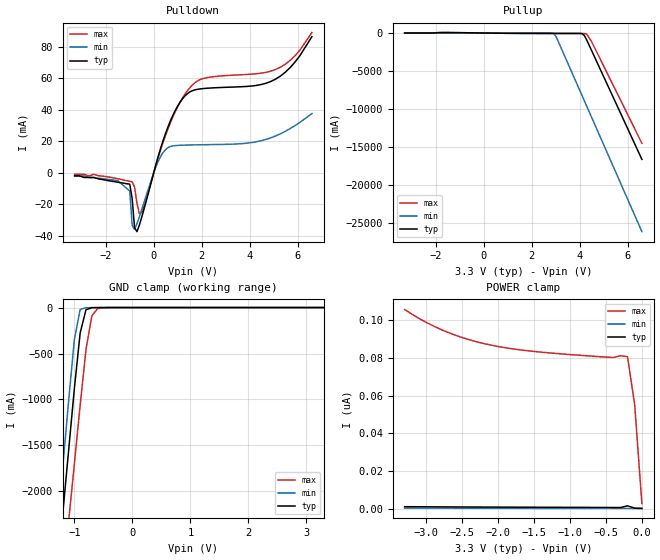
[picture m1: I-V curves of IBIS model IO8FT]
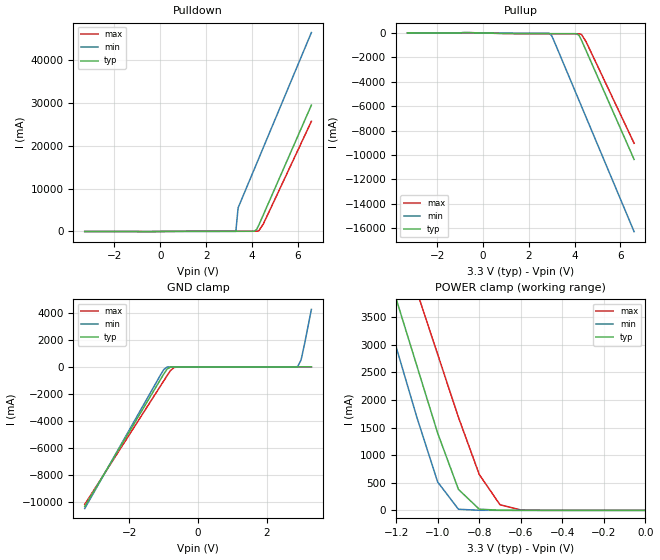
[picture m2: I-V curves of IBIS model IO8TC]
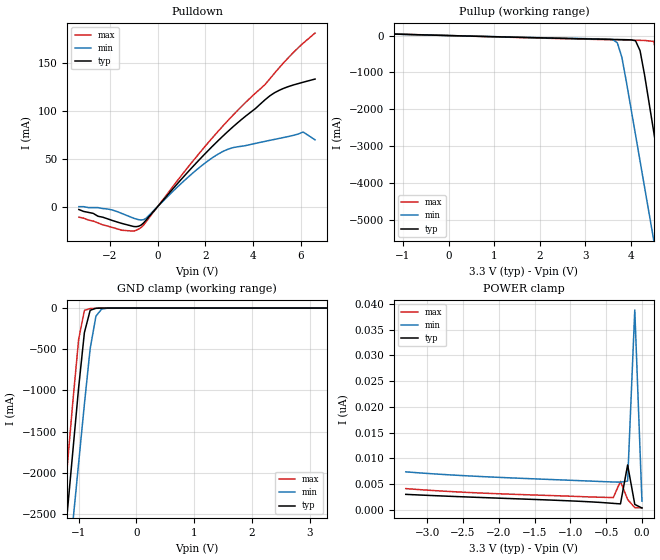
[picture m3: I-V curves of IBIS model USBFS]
| (C) COPYRIGHT 2008 STMicroelectronics
|****************** (C) COPYRIGHT 2024 STMicroelectronics ***************
|* File Name   : f103vbh.ibs   *
|* Author   : STMicroelectronics www.st.com   *
|* Description   : IBIS file for the STM32F103VBH Microcontroller. *
|* THE PRESENT SOFTWARE WHICH IS FOR GUIDANCE ONLY AIMS AT PROVIDING   *
|* CUSTOMERS WITH CODING INFORMATION REGARDING THEIR PRODUCTS IN ORDER  *
|* FOR THEM TO SAVE TIME.   *
|* AS A RESULT, STMICROELECTRONICS SHALL NOT BE HELD LIABLE FOR ANY   *
|* DIRECT,INDIRECT OR CONSEQUENTIAL DAMAGES WITH RESPECT TO ANY CLAIMS  *
|* ARISING FROM THE CONTENT OF SUCH SOFTWARE AND/OR THE USE MADE BY   *
|* CUSTOMERS OF THE CODING INFORMATION CONTAINED HEREIN IN CONNECTION   *
|* WITH THEIR PRODUCTS.   *
|* FOR MORE INFORMATION PLEASE CAREFULLY READ THE LICENSE AGREEMENT   *
|* FILE LOCATED IN THE ROOT DIRECTORY OF THIS SOFTWARE PACKAGE   *
|* IBIS file io8usb.ibs created by s2ibis2 version 1.1   *
|* North Carolina State University Electronics Research Laboratory  1995*
[IBIS ver]   2.1
[File name]   f103vbh.ibs
[File Rev]   1.1
[Date]   12-08-2024
|   Component  STM32F103VBH
[Component]   STM32F103VBH
[Manufacturer]   STMicroelectronics NV
[Package]
| STM32F103VBH with BGA100 package
| pin List
| variable   typ   min   max
R_pkg   0.000   0.000   0.000
L_pkg   0.000H   0.000H   0.000H
C_pkg   0.000F   0.000F   0.000F
[Pin]  signal_name   model_name   R_pin   L_pin   C_pin
A3 PE2 IO8FT
B3 PE3 IO8FT
C3 PE4 IO8FT
D3 PE5 IO8FT
E3 PE6 IO8FT
|B2 VBAT   VDD3IOSWCO_MOSSWI_TC
A2 PC13-ANTI_TAMP IO8TC
A1 PC14-OSC32_IN   IO8TC
|B1 PC15-OSC32_OUT IO8TC
|C2 VSS_5
|D2 VDD_5
C1 OSC_IN IO8TC
D1 OSC_OUT IO8TC
|E1 NRST IORESET_TC_V33
F1 PC0   IO8TC
F2 PC1   IO8TC
E2 PC2   IO8TC
F3 PC3   IO8TC
|G1 VSSA
|H1 VREF-
|J1 VREF+
|K1 VDDA
G2 PA0-WKUP IO8TC
H2 PA1   IO8TC
J2 PA2   IO8TC
K2 PA3   IO8TC
|E4 VSS_4
|F4 VDD_4
G3 PA4   IO8TC
H3 PA5   IO8TC
J3 PA6   IO8TC
K3 PA7   IO8TC
G4 PC4   IO8TC
H4 PC5   IO8TC
J4 PB0   IO8TC
K4 PB1   IO8TC
G5 PB2   IO8FT
H5 PE7   IO8FT
J5 PE8   IO8FT
K5 PE9   IO8FT
G6 PE10   IO8FT
H6 PE11   IO8FT
J6 PE12   IO8FT
K6 PE13   IO8FT
G7 PE14   IO8FT
H7 PE15   IO8FT
J7 PB10   IO8I2CINFT
K7 PB11   IO8I2CINFT
|E7 VSS_1
|F7 VDD_1
K8 PB12   IO8FT
J8 PB13   IO8FT
H8 PB14   IO8FT
G8 PB15   IO8FT
K9 PD8   IO8FT
J9 PD9   IO8FT
H9 PD10   IO8FT
G9 PD11   IO8FT
K10 PD12 IO8FT
J10 PD13 IO8FT
H10 PD14 IO8FT
G10 PD15 IO8FT
F10 PC6   IO8FT
E10 PC7   IO8FT
F9 PC8   IO8FT
E9 PC9   IO8FT
D9 PA8   IO8FT
C9 PA9   IO8FT
D10 PA10 IO8FT
C10 PA11 USBFS
|DM
B10 PA12 USBFS
|DP
A10 PA13   IO8FT
|F8 NC   IO8TC_V33
|E6 VSS_2
|F6 VDD_2
A9 PA14   IO8FT
A8 PA15   IO8FT
B9 PC10   IO8FT
B8 PC11   IO8FT
C8 PC12   IO8FT
D8 PD0   IO8FT
E8 PD1   IO8FT
B7 PD2   IO8FT
C7 PD3   IO8FT
D7 PD4   IO8FT
B6 PD5   IO8FT
C6 PD6   IO8FT
D6 PD7   IO8FT
A7 PB3   IO8FT
A6 PB4   IO8FT
C5 PB5   IO8TC
B5 PB6   IO8I2CINFT
A5 PB7   IO8I2CINFT
|D5 BOOT0
B4 PB8   IO8I2CINFT
A4 PB9   IO8I2CINFT
D4 PE0   IO8FT
C4 PE1   IO8FT
|E5 VSS_3
|F5 VDD_3
[Diff Pin] inv_pin vdiff tdelay_typ tdelay_min tdelay_max
C10 B10 0 na na na
| Models and submodels in the file (4): IO8FT (I/O), IO8TC (I/O), IO8I2CINFT (I/O), USBFS (I/O)
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|   Model IO8FT
[Model]   IO8FT
Model_type   I/O
Polarity   Non-Inverting
Enable   Active-Low
Vinl = 0.8
Vinh = 2.0
Vmeas = 1.65V   | Reference voltage for timing measurements
Cref  = 50.0pF   | Timing specification test load capacitance value
Rref  = 100.0MOhm   | Timing specification test load resistance value
Vref  = 1.65V   | Timing specification test load voltage
C_comp   1.12p 0.79p 1.15p
[Temperature Range]   27.0000   -40.0000   0.1250k
[Voltage Range]   3.3000V   2.0000V   3.6000V
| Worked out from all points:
|   slope of the pulldown table from 0 to 0.495 V, typ, clamps not added: 19.7 ohm
|   slope of the pullup table from 0 to 0.495 V, typ, clamps not added: 24.1 ohm
|   GND clamp passes 1 mA (typ) near -0.66 V on its own axis
[Pulldown]
| voltage   I(typ)   I(min)   I(max)
-3.3V     -2mA       -2mA       -1mA
-1V       -7.28mA    -11.64mA   -5.4mA
-900mV    -16.29mA   -33.35mA   -5.7mA
-800mV    -34.88mA   -35.98mA   -9.07mA
-700mV    -37.43mA   -32.42mA   -19.3mA
-500mV    -28.21mA   -23.35mA   -25.24mA
300mV     16.16mA    10.71mA    15.16mA
1.3V      48.78mA    17.59mA    49.88mA
2.1V      53.58mA    17.84mA    60.07mA
4.9V      58.14mA    22.28mA    64.68mA
5.7V      67mA       28.15mA    71.53mA
6.6V      86.53mA    37.57mA    89.15mA
[Pullup]
| voltage   I(typ)   I(min)   I(max)
-3.3V     980.1uA    253.1uA    1.488mA
2.9V      -50.07mA   -36.28mA   -60.46mA
3V        -50.19mA   -363.2mA   -60.68mA
3.1V      -50.31mA   -1.038A    -60.88mA
4.1V      -74.62mA   -8.2A      -63.33mA
4.2V      -326.9mA   -8.916A    -72.71mA
4.3V      -930.3mA   -9.632A    -154.9mA
4.5V      -2.293A    -11.06A    -1.125A
6.6V      -16.61A    -26.11A    -14.49A
[GND_clamp]
| voltage   I(typ)   I(min)   I(max)
-3.3V     -16.55A    -16.78A    -16.33A
-1.3V     -2.923A    -2.454A    -3.607A
-1.2V     -2.242A    -1.738A    -2.97A
-1.1V     -1.56A     -1.022A    -2.334A
-1V       -879mA     -347.6mA   -1.698A
-900mV    -275.7mA   -20.68mA   -1.062A
-800mV    -23.44mA   -1.226mA   -457.7mA
-700mV    -1.616mA   -169.8uA   -92.4mA
-600mV    -143.8uA   -12.27uA   -10.31mA
-400mV    -734.2nA   -13.33nA   -77.92uA
3.3V      120.7pA    150pA      -437.6pA
[POWER_clamp]
| voltage   I(typ)   I(min)   I(max)
-3.3V     1.029nA    288.6pA    105.7nA
-3V       963.9pA    266.5pA    98.85nA
-2.7V     907.5pA    245.1pA    93.54nA
-2.4V     858.5pA    224.3pA    89.6nA
-2.1V     815.6pA    203.8pA    86.77nA
-1.7V     764.8pA    176.8pA    84.28nA
-1.3V     717.4pA    150pA      82.67nA
-400mV    593pA      96.3pA     80.2nA
-300mV    575.4pA    90.12pA    81.13nA
-200mV    1.482nA    88.83pA    80.61nA
-100mV    269.6pA    67.49pA    55.08nA
0V        120.7pA    61.65pA    2.62nA
[Ramp]
| variable   typ   min   max
dV/dt_r   597.107m/1.926n   1.171/792.551p   1.993/430.881p
dV/dt_f   2.083/427.561p   1.367/1.031n   2.548/480.447p
R_load = 1.0000k
| End [Model] IO8FT
|   Model IO8TC
[Model]   IO8TC
Model_type   I/O
Polarity   Non-Inverting
Enable   Active-Low
Vinl = 0.8
Vinh = 2.0
Vmeas = 1.65V   | Reference voltage for timing measurements
Cref  = 50.0pF   | Timing specification test load capacitance value
Rref  = 100.0MOhm   | Timing specification test load resistance value
Vref  = 1.65V   | Timing specification test load voltage
C_comp   1.12p 0.79p 1.15p
[Temperature Range]   27.0000   -40.0000   0.1250k
[Voltage Range]   3.3000V   2.0000V   3.6000V
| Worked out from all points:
|   slope of the pulldown table from 0 to 0.495 V, typ, clamps not added: 20 ohm
|   slope of the pullup table from 0 to 0.495 V, typ, clamps not added: 22.7 ohm
|   GND clamp passes 1 mA (typ) near -0.70 V on its own axis
|   POWER clamp passes 1 mA (typ) near -0.65 V on its own axis
[Pulldown]
| voltage   I(typ)   I(min)   I(max)
-3.3V     -11mA      -7mA       -12mA
3.3V      46.11mA    17.5mA     51.65mA
3.4V      46.19mA    5.54A      51.73mA
4.1V      69.07mA    14.49A     53.41mA
4.2V      427.6mA    15.77A     60.5mA
4.3V      1.448A     17.05A     155mA
4.5V      3.886A     19.61A     1.741A
6.6V      29.54A     46.5A      25.74A
[Pullup]
| voltage   I(typ)   I(min)   I(max)
-3.3V     13mA       7mA        15mA
-800mV    38.06mA    30.07mA    17.02mA
2.9V      -53.19mA   -26.35mA   -64.22mA
3V        -53.33mA   -220.4mA   -64.45mA
3.1V      -53.45mA   -639.3mA   -64.67mA
4.1V      -64.77mA   -5.109A    -66.42mA
4.2V      -211.5mA   -5.556A    -69.8mA
4.3V      -583.6mA   -6.003A    -113mA
4.5V      -1.434A    -6.897A    -704.2mA
6.6V      -10.37A    -16.29A    -9.04A
[GND_clamp]
| voltage   I(typ)   I(min)   I(max)
-3.3V     -10.3A     -10.46A    -10.16A
-1.1V     -954.1mA   -622.7mA   -1.431A
-1V       -529.1mA   -203.8mA   -1.034A
-900mV    -157mA     -9.777mA   -637.6mA
-800mV    -10.42mA   -629.8uA   -264.1mA
-700mV    -609.4uA   -91.71uA   -46.66mA
-600mV    -69.31uA   -6.5uA     -3.537mA
2.9V      20.24pA    20.04mA    -1.76nA
3V        24.7pA     513.9mA    -1.696nA
3.1V      29.15pA    1.685A     -1.628nA
3.3V      40.44pA    4.243A     -1.476nA
[POWER_clamp]
| voltage   I(typ)   I(min)   I(max)
-3.3V     29.43A     29.82A     29.07A
-1.3V     5.056A     4.243A     6.25A
-1.2V     3.837A     2.964A     5.109A
-1.1V     2.618A     1.685A     3.969A
-1V       1.4A       513.9mA    2.828A
-900mV    379.9mA    20.04mA    1.687A
-800mV    21.69mA    1.633mA    652.2mA
-700mV    1.637mA    588.9uA    101.7mA
-600mV    417.2uA    104.9uA    7.544mA
0V        40.44pA    24pA       1.332nA
[Ramp]
| variable   typ   min   max
dV/dt_r   1.772/328.90p   983.154m/723.557p   1.701/251.136p
dV/dt_f   2.436/440.596p   1.415/1.165n   1.864/216.703p
R_load = 1.0000k
| End [Model] IO8TC
|   Model USBFS
[Model]   USBFS
Model_type   I/O
Polarity   Non-Inverting
Enable   Active-Low
Vmeas = 1.65V   | Reference voltage for timing measurements
Cref  = 50.0pF   | Timing specification test load capacitance value
Rref  = 100.0MOhm   | Timing specification test load resistance value
Vref  = 1.65V   | Timing specification test load voltage
C_comp   2.1500pF   1.7500pF   2.5000pF
Vinh = 1.75V
Vinl = 1.55V
[Temperature Range]   27.0000   0.1250k   -40.0000
[Voltage Range]   3.3000V   3.0000V   3.6000V
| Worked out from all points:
|   slope of the pulldown table from 0 to 0.495 V, typ, clamps not added: 34.5 ohm
|   slope of the pullup table from 0 to 0.495 V, typ, clamps not added: 31.3 ohm
|   GND clamp passes 1 mA (typ) near -0.63 V on its own axis
[Pulldown]
| voltage   I(typ)   I(min)   I(max)
-3.3V     -3mA       0A         -11mA
-2.1V     -12.7mA    -2.4mA     -20.2mA
-1.5V     -17.5mA    -7.1mA     -24.6mA
-1V       -20.74mA   -12.1mA    -25.55mA
-700mV    -19.36mA   -13.89mA   -21.88mA
-500mV    -14.56mA   -12.43mA   -16.45mA
1.7V      47.67mA    39.77mA    54.23mA
2.8V      75.08mA    58.32mA    85.85mA
4.5V      111.4mA    68.1mA     127.3mA
4.9V      118.8mA    70.16mA    139.2mA
6.1V      129.8mA    77.85mA    170.5mA
6.6V      133.1mA    69.69mA    181.1mA
[Pullup]
| voltage   I(typ)   I(min)   I(max)
-3.3V     109.5mA    101.6mA    122.5mA
3.6V      -105.6mA   -108.4mA   -115.3mA
3.7V      -108mA     -194.8mA   -117.8mA
3.8V      -110.5mA   -589mA     -120.4mA
4.1V      -141.9mA   -2.695A    -127.8mA
4.2V      -412.3mA   -3.413A    -130.2mA
4.5V      -2.619A    -5.564A    -160.4mA
4.7V      -4.155A    -6.998A    -1.268A
4.9V      -5.692A    -8.431A    -2.884A
5.1V      -7.229A    -9.864A    -4.5A
5.3V      -8.766A    -11.3A     -6.115A
6.6V      -18.75A    -20.6A     -16.61A
[GND_clamp]
| voltage   I(typ)   I(min)   I(max)
-3.3V     -18.67A    -18.41A    -18.94A
-1.3V     -3.277A    -4.04A     -2.755A
-1.2V     -2.507A    -3.321A    -1.946A
-1.1V     -1.737A    -2.602A    -1.137A
-1V       -967.9mA   -1.884A    -381.8mA
-900mV    -297.6mA   -1.165A    -28.37mA
-800mV    -27.01mA   -492.5mA   -5.803mA
-700mV    -2.725mA   -97.75mA   -2.046mA
-600mV    -374.4uA   -11.35mA   -319.5uA
-400mV    -2.272uA   -84.93uA   -419nA
3.3V      375.1pA    5.395nA    345.6pA
[POWER_clamp]
| voltage   I(typ)   I(min)   I(max)
-3.3V     3.025nA    7.392nA    4.142nA
-2.2V     2.391nA    6.45nA     3.251nA
-1V       1.759nA    5.754nA    2.666nA
-400mV    1.276nA    5.42nA     2.404nA
-300mV    1.176nA    5.395nA    5.553nA
-200mV    8.733nA    5.592nA    2.027nA
-100mV    1.075nA    38.8nA     451.1pA
0V        375.1pA    1.72nA     414.8pA
[Ramp]
| variable   typ   min   max
dV/dt_r   2.659/1.726n   2.336/2.921n   2.278/991.732p
dV/dt_f   1.832/861.955p   1.727/1.981n   1.714/440.223p
R_load = 10.0k
| End [Model] USBFS
